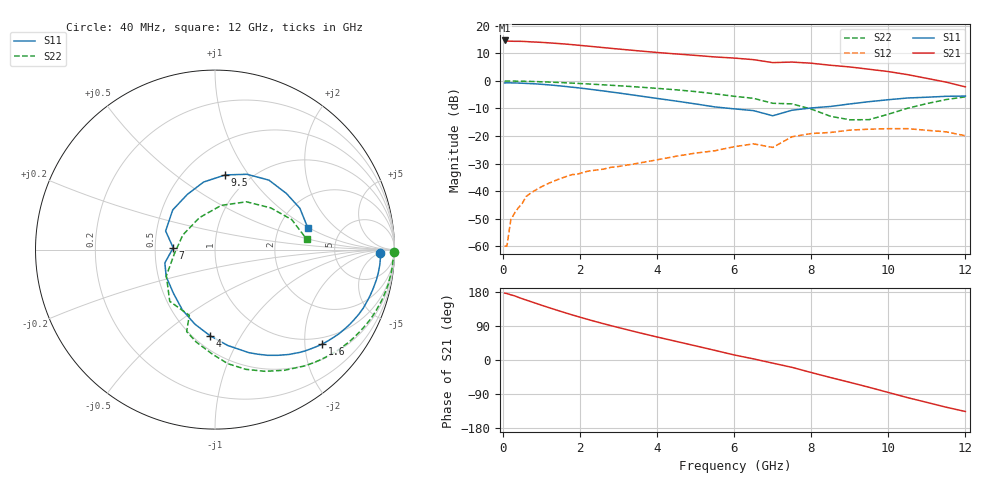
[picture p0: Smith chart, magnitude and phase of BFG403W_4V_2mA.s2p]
! Filename: 42bfg403.001
! Filename: 42bf403.001
! BFG403W Field A1
! V1=8.597E-001V,V2=4.000E+000V, I1=2.445E-005A, I2=2.000E-003A
# GHz  S  MA  R 50
!  S11  S21  S12  S22
!Freq(GHz)  Mag  Ang  Mag  Ang  Mag  Ang  Mag  Ang
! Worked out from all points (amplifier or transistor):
!   44 points, 40 MHz to 12 GHz, reference 50 ohm
!   highest |S21| = 14.7 dB at 40 MHz (marker M1)
!   |S21| within 3 dB of that: start of sweep to 2.908 GHz
!   unconditionally stable (mu >= 1): start of sweep to 41.95 MHz; 2.739 GHz to end of sweep
!   at 700 MHz: K = 0.23, MSG = 27.6 dB, |S12| = -40.9 dB
!   at 2.4 GHz: K = 0.84, MSG = 22.4 dB, |S12| = -32.4 dB
!   at 12 GHz: K = 3.42, MAG = 0.6 dB, |S12| = -19.9 dB
!   S11 on the Smith chart (normalised r, x): 40 MHz: 23, -5; 1.6 GHz: 0.83, -2.40; 4 GHz: 0.60, -0.75; 7 GHz: 0.62, +0.01; 9.5 GHz: 0.78, +0.78; 12 GHz: 2.89, +0.98
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0.04  0.919 -1.1  5.429 176.5  0.001 17.2  0.995 -0.6
0.1  0.923 -2.7  5.294 175.4  0.001 88.0  0.995 -1.8
0.2  0.922 -5.4  5.26 172.0  0.003 83.6  0.993 -3.9
0.6  0.902 -16.3  5.182 158.2  0.008 76.5  0.984 -11.6
1.1  0.858 -29.2  4.96 141.2  0.013 68.5  0.959 -21.0
1.6  0.796 -41.4  4.682 125.0  0.018 61.6  0.926 -29.8
2.2  0.714 -54.9  4.286 107.1  0.023 55.3  0.882 -39.8
3  0.604 -71.9  3.791 85.4  0.028 50.3  0.818 -52.4
3.5  0.539 -82.4  3.524 72.8  0.032 48.3  0.776 -60.0
4  0.481 -93.2  3.285 60.7  0.037 46.4  0.733 -67.7
4.5  0.43 -105.2  3.086 49.0  0.043 43.7  0.689 -75.5
5.5  0.337 -133.1  2.724 25.4  0.054 34.8  0.583 -91.4
6  0.311 -150.9  2.6 13.3  0.064 27.2  0.526 -101.4
6.5  0.289 -165.2  2.434 2.9  0.072 27.4  0.483 -109.1
7  0.233 177.6  2.15 -8.3  0.062 27.0  0.393 -111.3
7.5  0.294 159.3  2.2 -19.4  0.097 16.8  0.383 -131.2
8  0.323 136.8  2.096 -33.1  0.111 2.6  0.308 -151.7
8.5  0.344 116.6  1.925 -46.3  0.116 -9.2  0.228 -173.9
9.5  0.42 82.2  1.63 -72.0  0.133 -34.1  0.198 116.0
10.5  0.49 52.2  1.301 -99.3  0.136 -62.4  0.319 56.6
11.5  0.526 26.0  0.951 -124.5  0.119 -91.8  0.459 21.4
12  0.531 13.2  0.78 -136.0  0.101 -109.6  0.514 6.5
